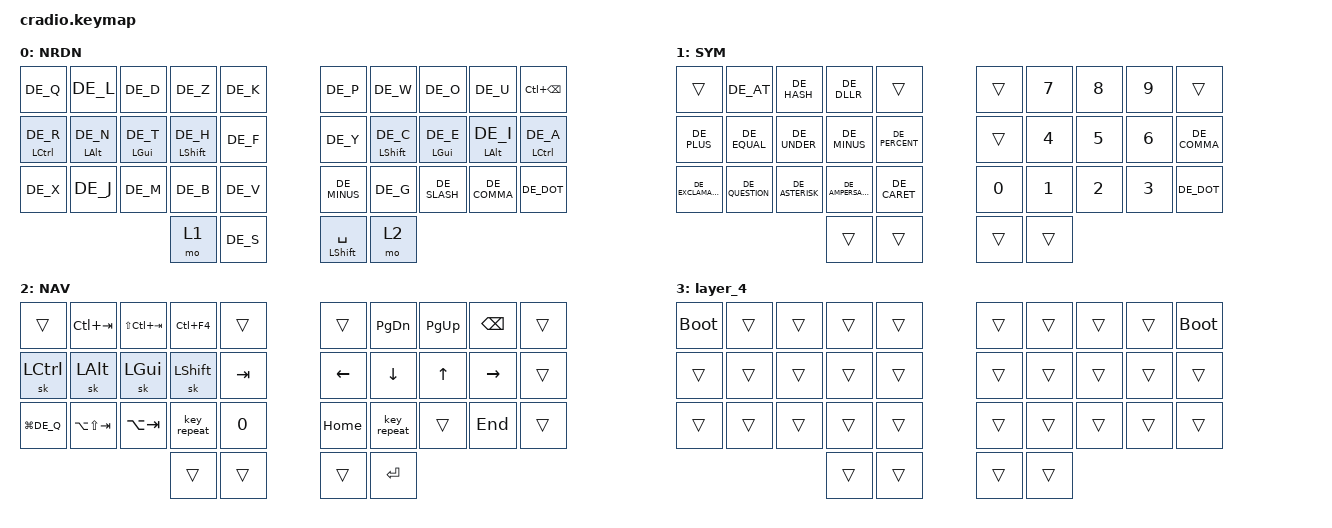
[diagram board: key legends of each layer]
// Copyright (c) 2022 The ZMK Contributors
// SPDX-License-Identifier: MIT

#include <behaviors.dtsi>
#include <dt-bindings/zmk/keys.h>
#include "keys_de.h"

&sl { ignore-modifiers; };

/ {
    behaviors {
        ht: hold_tap {
            compatible = "zmk,behavior-hold-tap";
            #binding-cells = <2>;
            flavor = "tap-preferred";
            tapping-term-ms = <220>;
            quick-tap-ms = <150>;
            require-prior-idle-ms = <100>;
            bindings = <&kp>, <&kp>;
        };

        to_sym_hmr: to_sym_hmr {
            compatible = "zmk,behavior-hold-tap";
            label = "TO_SYM_HMR";
            bindings = <&mo>, <&to_sym>;

            #binding-cells = <2>;
            tapping-term-ms = <400>;
            flavor = "tap-unless-interrupted";
            require-prior-idle-ms = <150>;
        };

        to_nav_hmr: to_nav_hmr {
            compatible = "zmk,behavior-hold-tap";
            label = "TO_NAV_HMR";
            bindings = <&mo>, <&to_nav>;

            #binding-cells = <2>;
            tapping-term-ms = <400>;
            flavor = "tap-unless-interrupted";
            require-prior-idle-ms = <150>;
        };

        sl_nav_hrm: sl_nav_hrm {
            compatible = "zmk,behavior-hold-tap";
            label = "SL_NAV_HRM";
            bindings = <&mo>, <&sl>;

            #binding-cells = <2>;
            tapping-term-ms = <200>;
            flavor = "tap-unless-interrupted";
        };

        sl_sym_hrm: sl_sym_hrm {
            compatible = "zmk,behavior-hold-tap";
            label = "SL_SYM_HRM";
            bindings = <&mo>, <&sl>;

            #binding-cells = <2>;
            tapping-term-ms = <350>;
            flavor = "tap-unless-interrupted";
        };

        s_ctrl: s_ctrl {
            compatible = "zmk,behavior-hold-tap";
            label = "S_CTRL";
            bindings = <&kp>, <&kp>;

            #binding-cells = <2>;
            flavor = "balanced";
            require-prior-idle-ms = <200>;
            tapping-term-ms = <150>;
        };

        hm: hm {
            compatible = "zmk,behavior-hold-tap";
            label = "HM";
            bindings = <&kp>, <&kp>;

            #binding-cells = <2>;
            tapping-term-ms = <180>;
            require-prior-idle-ms = <75>;
            flavor = "tap-preferred";
        };
    };

    conditional_layers { compatible = "zmk,conditional-layers"; };

    combos {
        compatible = "zmk,combos";

        ue {
            bindings = <&kp DE_U_UMLAUT>;
            key-positions = <8 30>;
            layers = <0>;
            timeout-ms = <50>;
            require-prior-idle-ms = <100>;
        };

        ae {
            bindings = <&kp DE_A_UMLAUT>;
            key-positions = <19 30>;
            timeout-ms = <50>;
            require-prior-idle-ms = <100>;
            layers = <0>;
        };

        oe {
            bindings = <&kp DE_O_UMLAUT>;
            key-positions = <30 7>;
            timeout-ms = <50>;
            require-prior-idle-ms = <100>;
            layers = <0>;
        };

        ss {
            bindings = <&kp DE_SHARP_S>;
            key-positions = <30 17>;
            timeout-ms = <50>;
            require-prior-idle-ms = <100>;
            layers = <0>;
        };

        Esc {
            bindings = <&kp ESCAPE>;
            key-positions = <1 2>;
            require-prior-idle-ms = <200>;
            timeout-ms = <75>;
        };

        Tab {
            bindings = <&kp TAB>;
            key-positions = <12 13 11>;
            timeout-ms = <50>;
            layers = <0>;
        };

        bspc {
            bindings = <&kp BACKSPACE>;
            key-positions = <8 7>;
            timeout-ms = <75>;
        };

        Enter {
            bindings = <&kp ENTER>;
            key-positions = <16 17 18>;
            timeout-ms = <75>;
            require-prior-idle-ms = <300>;
        };

        boot {
            bindings = <&bootloader>;
            key-positions = <0 9>;
            layers = <2>;
        };

        combo_lbrc {
            bindings = <&kp DE_LBRC>;
            key-positions = <11 1>;
            timeout-ms = <50>;
        };

        combo_lbrk {
            bindings = <&kp DE_LBKT>;
            key-positions = <2 12>;
            timeout-ms = <50>;
        };

        combo_lpar {
            bindings = <&kp DE_LPAR>;
            key-positions = <3 13>;
            timeout-ms = <50>;
        };

        combo_rpar {
            bindings = <&kp DE_RPAR>;
            key-positions = <6 16>;
            timeout-ms = <50>;
        };

        combo_rbkt {
            bindings = <&kp DE_RIGHT_BRACKET>;
            key-positions = <7 17>;
            timeout-ms = <50>;
        };

        rombo_rbrc {
            bindings = <&kp DE_RBRC>;
            key-positions = <8 18>;
            timeout-ms = <50>;
        };

        combo_fslsh {
            bindings = <&kp DE_FSLH>;
            key-positions = <12 22>;
            timeout-ms = <50>;
        };

        combo_bslsh {
            bindings = <&kp DE_BSLH>;
            key-positions = <17 27>;
            timeout-ms = <50>;
        };

        combo_semi {
            bindings = <&kp DE_SEMICOLON>;
            key-positions = <27 26 28>;
            timeout-ms = <50>;
        };

        combo_grave {
            bindings = <&kp GRAVE>;
            key-positions = <8 7>;
            layers = <1>;
        };

        combo_gt {
            bindings = <&kp DE_GREATER_THAN>;
            key-positions = <13 23>;
            layers = <1>;
        };

        combo_lt {
            bindings = <&kp DE_LT>;
            key-positions = <11 21>;
            layers = <1>;
        };

        combo_pipe {
            bindings = <&kp DE_PIPE>;
            key-positions = <12 22>;
            layers = <1>;
        };

        combo_sqt {
            bindings = <&kp DE_SQT>;
            key-positions = <6 7>;
        };

        combo_dqt {
            bindings = <&kp DE_DQT>;
            key-positions = <6 7>;
            layers = <1>;
        };

        combo_ctrlbspc {
            bindings = <&kp LC(BACKSPACE)>;
            key-positions = <8 7 6>;
            require-prior-idle-ms = <150>;
            timeout-ms = <50>;
        };

        stdio_unlopck {
            bindings = <&studio_unlock>;
            key-positions = <21 22 23>;
        };
    };

    macros {
        sym_macro: layer_1 {
            compatible = "zmk,behavior-macro";
            #binding-cells = <0>;
            bindings =
                <&macro_press>,
                <&mo 1>,
                <&macro_tap>,
                <&kp F14>,
                <&macro_pause_for_release>,
                <&macro_tap>,
                <&kp F17>,
                <&macro_release>,
                <&mo 1>;

            label = "LAYER_1";
        };

        nav_macro: layer_2 {
            compatible = "zmk,behavior-macro";
            #binding-cells = <0>;
            bindings =
                <&macro_press>,
                <&mo 2>,
                <&macro_tap>,
                <&kp F15>,
                <&macro_pause_for_release>,
                <&macro_tap>,
                <&kp F17>,
                <&macro_release>,
                <&mo 2>;

            label = "LAYER_2";
        };

        num_macro: layer_3 {
            compatible = "zmk,behavior-macro";
            #binding-cells = <0>;
            bindings =
                <&macro_press>,
                <&mo 3>,
                <&macro_tap>,
                <&kp F16>,
                <&macro_pause_for_release>,
                <&macro_tap>,
                <&kp F17>,
                <&macro_release>,
                <&mo 3>;

            label = "LAYER_3";
        };

        to_sym: to_sym {
            compatible = "zmk,behavior-macro";
            #binding-cells = <0>;
            bindings = <&macro_tap>, <&to 1 &kp F14>;

            label = "TO_SYM";
        };

        to_nav: hmr_nav {
            compatible = "zmk,behavior-macro";
            #binding-cells = <0>;
            bindings = <&macro_tap>, <&to 2 &kp F15>;

            label = "HMR_NAV";
        };

        to_norden: to_norden {
            compatible = "zmk,behavior-macro";
            #binding-cells = <0>;
            bindings = <&macro_tap>, <&to 0 &kp F17>;

            label = "TO_NORDEN";
        };

        sk_sym: sk_sym {
            compatible = "zmk,behavior-macro";
            #binding-cells = <0>;
            bindings = <&macro_tap>, <&sl 1 &kp F14>;

            label = "SK_SYM";
        };

        sk_nav: sk_nav {
            compatible = "zmk,behavior-macro";
            #binding-cells = <0>;
            bindings = <&macro_tap>, <&sl 2 &kp F15>;

            label = "SK_NAV";
        };
    };

    keymap {
        compatible = "zmk,keymap";

        Norden {
            bindings = <
&kp DE_Q        &kp DE_L           &kp DE_D           &kp DE_Z             &kp DE_K    &kp DE_P              &kp DE_W             &kp DE_O           &kp DE_U           &kp LC(BSPC)
&hm LCTRL DE_R  &hm LEFT_ALT DE_N  &hm LEFT_GUI DE_T  &hm LEFT_SHIFT DE_H  &kp DE_F    &kp DE_Y              &hm LEFT_SHIFT DE_C  &hm LEFT_GUI DE_E  &hm LEFT_ALT DE_I  &hm LCTRL DE_A
&kp DE_X        &kp DE_J           &kp DE_M           &kp DE_B             &kp DE_V    &kp DE_MINUS          &kp DE_G             &kp DE_SLASH       &kp DE_COMMA       &kp DE_DOT
                                                      &mo 1                &kp DE_S    &mt LEFT_SHIFT SPACE  &mo 2
            >;

            label = "NRDN";
        };

        SYM {
            bindings = <
&trans              &kp DE_AT        &kp DE_HASH      &kp DE_DLLR       &trans            &trans  &kp N7  &kp N8  &kp N9  &trans
&kp DE_PLUS         &kp DE_EQUAL     &kp DE_UNDER     &kp DE_MINUS      &kp DE_PERCENT    &trans  &kp N4  &kp N5  &kp N6  &kp DE_COMMA
&kp DE_EXCLAMATION  &kp DE_QUESTION  &kp DE_ASTERISK  &kp DE_AMPERSAND  &kp DE_CARET      &kp N0  &kp N1  &kp N2  &kp N3  &kp DE_DOT
                                                      &trans            &trans            &trans  &trans
            >;

            label = "SYM";
        };

        NAV {
            bindings = <
&trans        &kp LC(TAB)      &kp LS(LC(TAB))  &kp LC(F4)   &trans     &trans    &kp PG_DN    &kp PG_UP  &kp BSPC   &trans
&sk LCTRL     &sk LALT         &sk LGUI         &sk LSHFT    &kp TAB    &kp LEFT  &kp DOWN     &kp UP     &kp RIGHT  &trans
&kp LG(DE_Q)  &kp LA(LS(TAB))  &kp LA(TAB)      &key_repeat  &kp N0     &kp HOME  &key_repeat  &trans     &kp END    &trans
                                                &trans       &trans     &trans    &kp ENTER
            >;

            label = "NAV";
        };

        layer_4 {
            bindings = <
&bootloader  &trans  &trans  &trans  &trans    &trans  &trans  &trans  &trans  &bootloader
&trans       &trans  &trans  &trans  &trans    &trans  &trans  &trans  &trans  &trans
&trans       &trans  &trans  &trans  &trans    &trans  &trans  &trans  &trans  &trans
                             &trans  &trans    &trans  &trans
            >;
        };
    };
};
